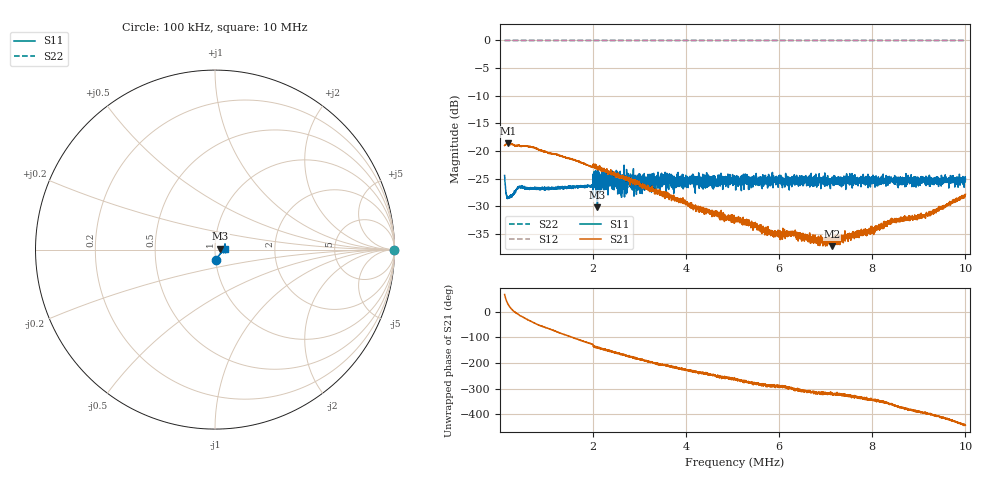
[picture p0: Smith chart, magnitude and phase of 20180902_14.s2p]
! Anritsu VNA Master:  Model: MS2026C/19
! SN:  1815009
! /card0/usr/20180902_14.s2p
! Existing Calibration Information:
! TYPE:  Current Settings,  Active Cal Settings
! TIME:  09/02/2018 12:48:57 PM,  09/02/2018 11:58:48 AM
! INTERNAL TEMP:  53.8 C,  48.8 C
! # POINTS:  4001,  4001
! START FREQ:  100.000 kHz,  100.000 kHz
! STOP FREQ:  10.000 MHz,  10.000 MHz
! SOURCE POWER:  Low,  Low
! IFBW:  500 Hz,  500 Hz
! AVG FACTOR:  5 ,  1
! REF PLANE 1:  0 mm,  0 mm
! REF PLANE 2:  0 mm,  0 mm
! CAL TYPE:  1P2P S11,S21,  1P2P S11,S21
! CAL METHOD:  SOLT,  SOLT
! CAL LINE TYPE:  Coax,  Coax
! DUT PORT 1:  N-Conn(M),  N-Conn(M)
! DUT PORT 2:  N-Conn(M),  N-Conn(M)
! CAL STATUS:  ?T: Accuracy moderate (|Temp diff| > 5.0 C),  --
# GHZ S RI R 50.0
! FREQ.GHZ  S11RE  S11IM  S21RE  S21IM  S12RE  S12IM  S22RE  S22IM
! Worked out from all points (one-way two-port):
!   4001 points, 100 kHz to 10 MHz, reference 50 ohm
!   highest |S21| = -18.64 dB at 179.2 kHz (marker M1); lowest = -37.2 dB at 7.134 MHz (marker M2)
!   lowest |S11| = -30.2 dB at 2.095 MHz (marker M3), VSWR 1.06, Z = 53.1 + j0.554 ohm
!   |S11| at or under -10 dB: start of sweep to end of sweep
!   |S22| runs from 0.0 to 0.0 dB; largest |S21 - S12| = 1.1
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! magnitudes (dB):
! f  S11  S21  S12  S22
! 100 kHz  -24.5  -19.0  0.0  0.0
! 179.2 kHz  -28.5  -18.6  0.0  0.0
! 439.1 kHz  -26.6  -19.1  0.0  0.0
! 1.751 MHz  -26.4  -22.1  0.0  0.0
! 1.951 MHz  -26.5  -22.8  0.0  0.0
! 2.043 MHz  -25.8  -22.4  0.0  0.0
! 2.095 MHz  -30.2  -23.4  0.0  0.0
! 2.491 MHz  -26.1  -24.3  0.0  0.0
! 2.58 MHz  -25.2  -24.6  0.0  0.0
! 2.818 MHz  -24.6  -25.3  0.0  0.0
! 2.919 MHz  -24.8  -25.6  0.0  0.0
! 3.402 MHz  -26.4  -27.7  0.0  0.0
! 3.515 MHz  -25.3  -27.9  0.0  0.0
! 5.05 MHz  -25.3  -32.4  0.0  0.0
! 5.862 MHz  -25.4  -35.4  0.0  0.0
! 6.32 MHz  -25.0  -34.9  0.0  0.0
! 6.701 MHz  -25.9  -35.8  0.0  0.0
! 7.134 MHz  -24.8  -37.2  0.0  0.0
! 8.005 MHz  -25.1  -34.0  0.0  0.0
! 8.352 MHz  -25.3  -32.8  0.0  0.0
! 9.107 MHz  -25.2  -31.6  0.0  0.0
! 10 MHz  -25.0  -27.9  0.0  0.0
